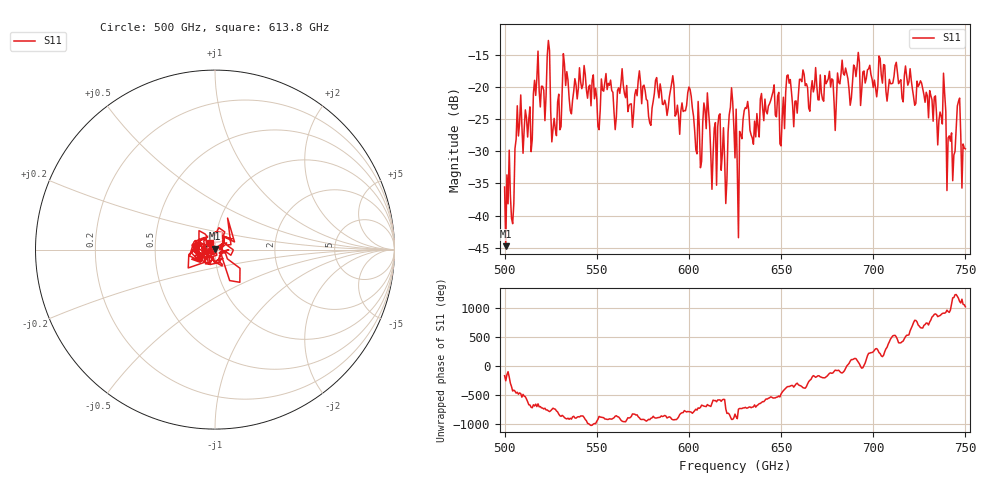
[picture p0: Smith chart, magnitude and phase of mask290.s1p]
!Created with skrf (http://scikit-rf.org).
# GHz S MA R 50.0
!freq magS11 angS11
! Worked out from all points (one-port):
!   401 points, 500 GHz to 750 GHz, reference 50 ohm
!   lowest |S11| = -44.7 dB at 500.6 GHz (marker M1), VSWR 1.01, Z = 49.8 + j0.557 ohm
!   |S11| at or under -10 dB: start of sweep to end of sweep
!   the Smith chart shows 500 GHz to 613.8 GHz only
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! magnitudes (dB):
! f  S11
! 500 GHz  -35.6
! 500.6 GHz  -44.7
! 504.4 GHz  -41.2
! 507.5 GHz  -27.6
! 513.8 GHz  -23.1
! 516.9 GHz  -21.3
! 523.8 GHz  -12.8
! 526.9 GHz  -24.9
! 531.2 GHz  -20.6
! 562.5 GHz  -21.0
! 579.4 GHz  -26.0
! 590.6 GHz  -19.5
! 593.8 GHz  -22.9
! 600.6 GHz  -20.4
! 605.6 GHz  -26.2
! 609.4 GHz  -26.5
! 619.4 GHz  -31.2
! 622.5 GHz  -23.2
! 625 GHz  -31.0
! 627.5 GHz  -26.9
! 631.2 GHz  -23.4
! 635 GHz  -28.9
! 656.2 GHz  -22.8
! 687.5 GHz  -22.9
! 718.8 GHz  -19.7
! 743.1 GHz  -34.6
! 746.2 GHz  -22.3
! 750 GHz  -29.6
